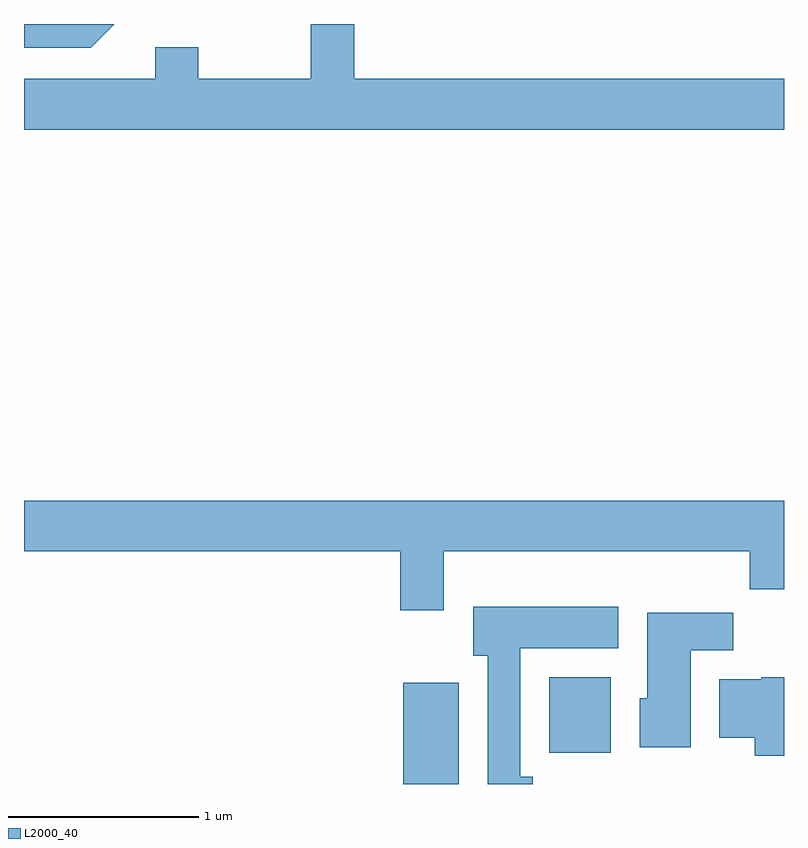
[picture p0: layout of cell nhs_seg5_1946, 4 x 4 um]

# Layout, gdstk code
import gdstk
lib = gdstk.Library(unit=1e-6, precision=1e-09)
def R(c, l, rs):  # rectangles x0, y0, x1, y1
    for r in rs: c.add(gdstk.rectangle(r[:2], r[2:], *l))
def P(c, l, *ps):  # polygons
    for p in ps: c.add(gdstk.Polygon(p, *l))
L2000_40 = (2000, 40)

nhs_seg5_1946 = lib.new_cell('nhs_seg5_1946')
R(nhs_seg5_1946, L2000_40, [(245.606,1400.072,245.899,1400.604), (246.376,1400.236,246.699,1400.634)])
P(nhs_seg5_1946, L2000_40, [(247.611,1403.784),(245.349,1403.784),(245.349,1404.072),(245.121,1404.072),(245.121,1403.784),(244.529,1403.784),(244.529,1403.949),(244.301,1403.949),(244.301,1403.784),(243.611,1403.784),(243.611,1403.516),(247.611,1403.516)],
  [(244.087,1404.072),(243.611,1404.072),(243.611,1403.946),(243.962,1403.946)],
  [(245.819,1401.296),(247.431,1401.296),(247.431,1401.096),(247.611,1401.096),(247.611,1401.564),(243.611,1401.564),(243.611,1401.296),(245.591,1401.296),(245.591,1400.986),(245.819,1400.986)],
  [(246.288,1400.109),(246.224,1400.109),(246.224,1400.786),(246.739,1400.786),(246.739,1401.004),(245.976,1401.004),(245.976,1400.746),(246.051,1400.746),(246.051,1400.072),(246.288,1400.072)],
  [(247.119,1400.776),(247.344,1400.776),(247.344,1400.974),(246.891,1400.974),(246.891,1400.524),(246.851,1400.524),(246.851,1400.266),(247.119,1400.266)],
  [(247.611,1400.634),(247.49,1400.634),(247.49,1400.624),(247.271,1400.624),(247.271,1400.316),(247.456,1400.316),(247.456,1400.221),(247.611,1400.221)])

lib.write_gds('nhs_seg5_1946.gds')
